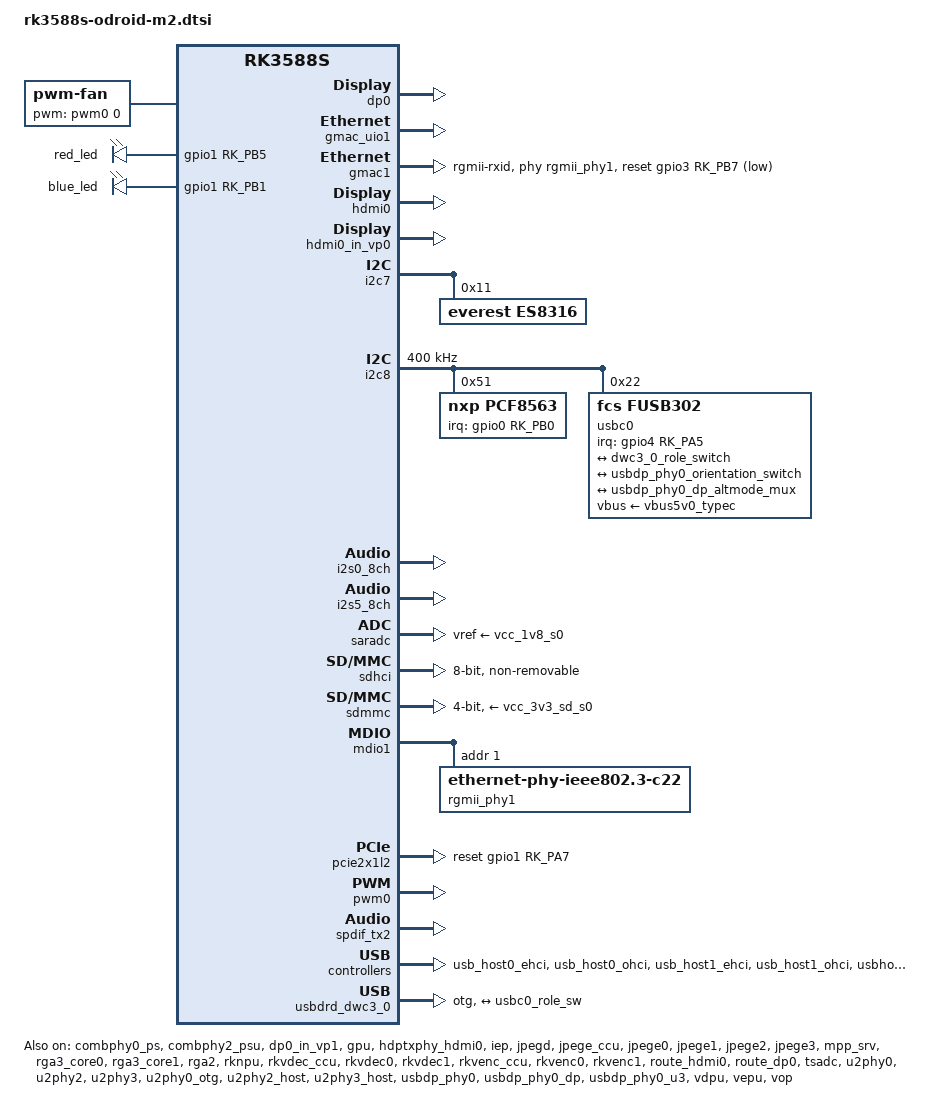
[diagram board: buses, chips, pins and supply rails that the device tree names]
// SPDX-License-Identifier: (GPL-2.0+ OR MIT)
/*
 * Copyright (c) 2024 Hardkernel Co., Ltd.
 *
 */

#include <dt-bindings/gpio/gpio.h>
#include <dt-bindings/pwm/pwm.h>
#include <dt-bindings/pinctrl/rockchip.h>
#include <dt-bindings/input/rk-input.h>
#include <dt-bindings/display/drm_mipi_dsi.h>
#include <dt-bindings/display/rockchip_vop.h>
#include <dt-bindings/sensor-dev.h>

/ {
	aliases {
		can0 = &can2;
		serial0 = &uart7;
		serial1 = &uart9;
		serial2 = &uart4;
		serial3 = &uart8;
		serial4 = &uart1;
		serial7 = &uart2;
		serial8 = &uart0;
		serial9 = &uart3;
		spi1 = &spi3;
		spi3 = &spi1;
		i2c0 = &i2c5;
		i2c1 = &i2c6;
		i2c2 = &i2c1;
		i2c5 = &i2c0;
		i2c6 = &i2c2;
	};

	backlight: backlight {
		status = "disabled";
		compatible = "pwm-backlight";

		pwms = <&pwm14 0 25000 0>;
		brightness-levels = <
			  0  20  20  21  21  22  22  23
			 23  24  24  25  25  26  26  27
			 27  28  28  29  29  30  30  31
			 31  32  32  33  33  34  34  35
			 35  36  36  37  37  38  38  39
			 40  41  42  43  44  45  46  47
			 48  49  50  51  52  53  54  55
			 56  57  58  59  60  61  62  63
			 64  65  66  67  68  69  70  71
			 72  73  74  75  76  77  78  79
			 80  81  82  83  84  85  86  87
			 88  89  90  91  92  93  94  95
			 96  97  98  99 100 101 102 103
			104 105 106 107 108 109 110 111
			112 113 114 115 116 117 118 119
			120 121 122 123 124 125 126 127
			128 129 130 131 132 133 134 135
			136 137 138 139 140 141 142 143
			144 145 146 147 148 149 150 151
			152 153 154 155 156 157 158 159
			160 161 162 163 164 165 166 167
			168 169 170 171 172 173 174 175
			176 177 178 179 180 181 182 183
			184 185 186 187 188 189 190 191
			192 193 194 195 196 197 198 199
			200 201 202 203 204 205 206 207
			208 209 210 211 212 213 214 215
			216 217 218 219 220 221 222 223
			224 225 226 227 228 229 230 231
			232 233 234 235 236 237 238 239
			240 241 242 243 244 245 246 247
			248 249 250 251 252 253 254 255
		>;
		default-brightness-level = <100>;
	};

	dp0_sound: dp0-sound {
		status = "okay";
		compatible = "rockchip,hdmi";
		rockchip,card-name= "rockchip-dp0";
		rockchip,mclk-fs = <512>;
		rockchip,cpu = <&spdif_tx2>;
		rockchip,codec = <&dp0 1>;
		rockchip,jack-det;
	};

	es8316_sound: es8316-sound {
		compatible = "simple-audio-card";
		simple-audio-card,format = "i2s";
		simple-audio-card,name = "rockchip,es8316-codec";
		simple-audio-card,mclk-fs = <256>;
		simple-audio-card,widgets =
			"Microphone", "Mic Jack",
			"Headphone", "Headphone Jack";
		simple-audio-card,routing =
			"Mic Jack", "Mic Bias",
			"MIC2", "Mic Jack",
			"Headphone Jack", "HPOL",
			"Headphone Jack", "HPOR";
		simple-audio-card,cpu {
			sound-dai = <&i2s0_8ch>;
			system-clock-frequency = <11289600>;
		};
		simple-audio-card,codec {
			sound-dai = <&es8316>;
			system-clock-frequency = <11289600>;
		};
	};

	fan: pwm-fan {
		status = "okay";
		compatible = "pwm-fan";
		#cooling-cells = <2>;
		pwms = <&pwm0 0 22222 0>;
		cooling-levels = <0 192 224 255>;
		rockchip,temp-trips = <
			60000	1
			65000	2
			70000	3
		>;
	};

	rk3588s-gpiomem {
		status = "okay";
		compatible = "rockchip,rk3588-gpiomem";
	};

	hdmi0_sound: hdmi0-sound {
		status = "okay";
		compatible = "rockchip,hdmi";
		rockchip,mclk-fs = <128>;
		rockchip,card-name = "rockchip-hdmi0";
		rockchip,cpu = <&i2s5_8ch>;
		rockchip,codec = <&hdmi0>;
		rockchip,jack-det;
	};

	leds {
		compatible = "gpio-leds";
		status = "okay";

		red_led: red {
			gpios = <&gpio1 RK_PB5 GPIO_ACTIVE_HIGH>;
			linux,default-trigger = "default-on";
		};

		blue_led: blue {
			gpios = <&gpio1 RK_PB1 GPIO_ACTIVE_HIGH>;
			linux,default-trigger = "heartbeat";
		};
	};

	spdif_tx_dc: spdif-tx-dc {
		status = "disabled";
		compatible = "linux,spdif-dit";
		#sound-dai-cells = <0>;
	};

	spdif_tx_sound: spdif-tx-sound {
		status = "disabled";
		compatible = "simple-audio-card";
		simple-audio-card,name = "rockchip,spdif-tx";
		simple-audio-card,mclk-fs = <128>;
		simple-audio-card,cpu {
			sound-dai = <&spdif_tx0>;
		};
		simple-audio-card,codec {
			sound-dai = <&spdif_tx_dc>;
		};
	};

	test-power {
		status = "disabled";
	};
};

&av1d_mmu {
	status = "okay";
};

&combphy0_ps {
	status = "okay";
};

&combphy2_psu {
	status = "okay";
};

&dp0 {
	status = "okay";
};

&dp0_in_vp1 {
	status = "okay";
};

&cpu_l0 {
	cpu-supply = <&vdd_cpu_lit_s0>;
	mem-supply = <&vdd_cpu_lit_mem_s0>;
};

&cpu_b0 {
	cpu-supply = <&vdd_cpu_big0_s0>;
	mem-supply = <&vdd_cpu_big0_mem_s0>;
};

&cpu_b2 {
	cpu-supply = <&vdd_cpu_big1_s0>;
	mem-supply = <&vdd_cpu_big1_mem_s0>;
};

&dsi0 {
	status = "disabled";

	dsi0_panel: panel@0 {
		#address-cells = <1>;
		#size-cells = <0>;

		reg = <0>;

		status = "disabled";

		backlight = <&backlight>;
		power-supply = <&vcc3v3_lcd>;

		reset-gpios = <&gpio1 RK_PB0 GPIO_ACTIVE_LOW>;

		pinctrl-names = "default";
		pinctrl-0 = <&lcd_rst_gpio>;

		ports {
			#address-cells = <1>;
			#size-cells = <0>;

			port@0 {
				reg = <0>;

				panel_in_dsi: endpoint {
					remote-endpoint = <&dsi_out_panel>;
				};
			};
		};
	};

	ports {
		#address-cells = <1>;
		#size-cells = <0>;

		port@1 {
			reg = <1>;

			dsi_out_panel: endpoint {
				remote-endpoint = <&panel_in_dsi>;
			};
		};
	};
};

&dsi1 {
	status = "disabled";
};

&gmac_uio1 {
	status = "okay";
};

&gmac1 {
	status = "okay";

	/* Use rgmii-rxid mode to disable rx delay inside Soc */
	phy-mode = "rgmii-rxid";
	clock_in_out = "input";

	snps,reset-gpio = <&gpio3 RK_PB7 GPIO_ACTIVE_LOW>;
	snps,reset-active-low;
	/* Reset time is 20ms, 100ms for rtl8211f */
	snps,reset-delays-us = <0 20000 100000>;

	pinctrl-names = "default";
	pinctrl-0 = <&gmac1_miim
		     &gmac1_clkinout
		     &gmac1_tx_bus2
		     &gmac1_rx_bus2
		     &gmac1_rgmii_clk
		     &gmac1_rgmii_bus>;

	tx_delay = <0x44>;
	/* rx_delay = <0x4f>; */

	phy-handle = <&rgmii_phy1>;
};

&gpu {
	mali-supply = <&vdd_gpu_s0>;
	mem-supply = <&vdd_gpu_mem_s0>;
	status = "okay";
};

&hdmi0 {
	enable-gpios = <&gpio4 RK_PB6 GPIO_ACTIVE_HIGH>;
	status = "okay";
	cec-enable = "true";
};

&hdmi0_in_vp0 {
	status = "okay";
};

&hdptxphy0 {
	status = "disabled";

	/* Single Vdiff Training Table for power reduction (optional) */
	training-table = /bits/ 8 <
		/* voltage swing 0, pre-emphasis 0->3 */
		0x0d 0x00 0x00 0x00 0x00 0x00
		0x0d 0x00 0x00 0x00 0x00 0x00
		0x0d 0x00 0x00 0x00 0x00 0x00
		0x0d 0x00 0x00 0x00 0x00 0x00
		/* voltage swing 1, pre-emphasis 0->2 */
		0x0d 0x00 0x00 0x00 0x00 0x00
		0x0d 0x00 0x00 0x00 0x00 0x00
		0x0d 0x00 0x00 0x00 0x00 0x00
		/* voltage swing 2, pre-emphasis 0->1 */
		0x0d 0x00 0x00 0x00 0x00 0x00
		0x0d 0x00 0x00 0x00 0x00 0x00
		/* voltage swing 3, pre-emphasis 0 */
		0x0d 0x00 0x00 0x00 0x00 0x00
	>;
};

&hdptxphy_hdmi0 {
	status = "okay";
};

&i2c7 {
	status = "okay";
	pinctrl-names = "default";
	pinctrl-0 = <&i2c7m0_xfer>;

	es8316: es8316@11 {
		status = "okay";
		#sound-dai-cells = <0>;
		compatible = "everest,es8316";
		reg = <0x11>;
		clocks = <&mclkout_i2s0>;
		clock-names = "mclk";
		pinctrl-names = "default";
		pinctrl-0 = <&i2s0_mclk>;
	};
};

&i2c8 {
	status = "okay";
	pinctrl-names = "default";
	pinctrl-0 = <&i2c8m2_xfer>;

	clock-frequency = <400000>;

	pcf8563: rtc@51 {
		status = "okay";

		compatible = "nxp,pcf8563";
		reg = <0x51>;

		pinctrl-names = "default";
		pinctrl-0 = <&pcf8563_intr>;
		interrupt-parent = <&gpio0>;
		interrupts = <RK_PB0 IRQ_TYPE_LEVEL_LOW>;
		wakeup-source;
	};

	touchscreen: touchscreen {
		status = "disabled";

		pinctrl-names = "default";
		pinctrl-0 = <&touch_gpio>;

		interrupt-parent = <&gpio1>;
		interrupts = <RK_PA3 IRQ_TYPE_LEVEL_LOW>;

		irq-gpios = <&gpio1 RK_PA3 IRQ_TYPE_LEVEL_LOW>;
		reset-gpios = <&gpio1 RK_PA4 GPIO_ACTIVE_LOW>;

		power-supply = <&vcc3v3_lcd>;
	};

	usbc0: fusb302@22 {
		compatible = "fcs,fusb302";
		reg = <0x22>;
		interrupt-parent = <&gpio4>;
		interrupts = <RK_PA5 IRQ_TYPE_LEVEL_LOW>;
		pinctrl-names = "default";
		pinctrl-0 = <&usbc0_int>;
		vbus-supply = <&vbus5v0_typec>;
		status = "okay";

		ports {
			#address-cells = <1>;
			#size-cells = <0>;

			port@0 {
				reg = <0>;
				usbc0_role_sw: endpoint@0 {
					remote-endpoint = <&dwc3_0_role_switch>;
				};
			};
		};

		usb_con: connector {
			compatible = "usb-c-connector";
			label = "USB-C";
			data-role = "dual";
			power-role = "dual";
			try-power-role = "sink";
			op-sink-microwatt = <1000000>;
			sink-pdos =
				<PDO_FIXED(5000, 1000, PDO_FIXED_USB_COMM)>;
			source-pdos =
				<PDO_FIXED(5000, 3000, PDO_FIXED_USB_COMM)>;

			altmodes {
				#address-cells = <1>;
				#size-cells = <0>;

				altmode@0 {
					reg = <0>;
					svid = <0xff01>;
					vdo = <0xffffffff>;
				};
			};

			ports {
				#address-cells = <1>;
				#size-cells = <0>;

				port@0 {
					reg = <0>;
					usbc0_orien_sw: endpoint {
						remote-endpoint = <&usbdp_phy0_orientation_switch>;
					};
				};

				port@1 {
					reg = <1>;
					dp_altmode_mux: endpoint {
						remote-endpoint = <&usbdp_phy0_dp_altmode_mux>;
					};
				};
			};
		};
	};
};

&i2s0_8ch {
	status = "okay";
	pinctrl-0 = <&i2s0_lrck
		     &i2s0_sclk
		     &i2s0_sdi0
		     &i2s0_sdo0>;
};

&i2s5_8ch {
	status = "okay";
};

&iep {
	status = "okay";
};

&iep_mmu {
	status = "okay";
};

&jpegd {
	status = "okay";
};

&jpegd_mmu {
	status = "okay";
};

&jpege_ccu {
	status = "okay";
};

&jpege0 {
	status = "okay";
};

&jpege0_mmu {
	status = "okay";
};

&jpege1 {
	status = "okay";
};

&jpege1_mmu {
	status = "okay";
};

&jpege2 {
	status = "okay";
};

&jpege2_mmu {
	status = "okay";
};

&jpege3 {
	status = "okay";
};

&jpege3_mmu {
	status = "okay";
};

&mpp_srv {
	status = "okay";
};

&rga3_core0 {
	status = "okay";
};

&rga3_0_mmu {
	status = "okay";
};

&rga3_core1 {
	status = "okay";
};

&rga3_1_mmu {
	status = "okay";
};

&rga2 {
	status = "okay";
};

&rknpu {
	rknpu-supply = <&vdd_npu_s0>;
	mem-supply = <&vdd_npu_mem_s0>;
	status = "okay";
};

&rknpu_mmu {
	status = "okay";
};

&rkvdec_ccu {
	status = "okay";
};

&rkvdec0 {
	status = "okay";
};

&rkvdec0_mmu {
	status = "okay";
};

&rkvdec1 {
	status = "okay";
};

&rkvdec1_mmu {
	status = "okay";
};

&rkvenc_ccu {
	status = "okay";
};

&rkvenc0 {
	venc-supply = <&vdd_vdenc_s0>;
	mem-supply = <&vdd_vdenc_mem_s0>;
	status = "okay";
};

&rkvenc0_mmu {
	status = "okay";
};

&rkvenc1 {
	venc-supply = <&vdd_vdenc_s0>;
	mem-supply = <&vdd_vdenc_mem_s0>;
	status = "okay";
};

&rkvenc1_mmu {
	status = "okay";
};

&rockchip_suspend {
	status = "okay";
	rockchip,sleep-debug-en = <1>;
};

&saradc {
	status = "okay";
	vref-supply = <&vcc_1v8_s0>;
};

&sdhci {
	bus-width = <8>;
	no-sdio;
	no-sd;
	non-removable;
	max-frequency = <200000000>;
	mmc-hs400-1_8v;
	mmc-hs400-enhanced-strobe;
	full-pwr-cycle-in-suspend;
	status = "okay";
};

&sdmmc {
	max-frequency = <150000000>;
	no-sdio;
	no-mmc;
	bus-width = <4>;
	cap-mmc-highspeed;
	cap-sd-highspeed;
	disable-wp;
	sd-uhs-sdr104;
	vmmc-supply = <&vcc_3v3_sd_s0>;
	vqmmc-supply = <&vccio_sd_s0>;
	status = "okay";
};

&mdio1 {
	rgmii_phy1: phy@1 {
		compatible = "ethernet-phy-ieee802.3-c22";
		reg = <0x1>;
	};
};

&mipi_dcphy0 {
	status = "disabled";
};

&mipi_dcphy1 {
	status = "disabled";
};

&pcie2x1l1 {
	status = "disabled";
};

&pcie2x1l2 {
	reset-gpios = <&gpio1 RK_PA7 GPIO_ACTIVE_HIGH>;
	rockchip,skip-scan-in-resume;
	status = "okay";
};

&pinctrl {
	hdmi {
		hdmim0_tx0_scl: hdmim0-tx0-scl {
			rockchip,pins =
				/* hdmim0_tx0_scl */
				<4 RK_PB7 5 &pcfg_pull_none_drv_level_5_smt>;
		};

		/omit-if-no-ref/
		hdmim0_tx0_sda: hdmim0-tx0-sda {
			rockchip,pins =
				/* hdmim0_tx0_sda */
				<4 RK_PC0 5 &pcfg_pull_none_drv_level_5_smt>;
		};

		hdmim0_tx1_hpd: hdmim0-tx1-hpd {
			rockchip,pins =
				/* hdmim0_tx1_hpd */
				<1 RK_PA6 5 &pcfg_pull_none_drv_level_5_smt>;
		};
	};

	headphone {
		hp_det: hp-det {
			rockchip,pins = <1 RK_PD5 RK_FUNC_GPIO &pcfg_pull_none>;
		};
	};

	lcd {
		lcd_rst_gpio: lcd-rst-gpio {
			rockchip,pins = <1 RK_PB0 RK_FUNC_GPIO &pcfg_pull_none>;
		};
	};

	rtc {
		pcf8563_intr: pcf8563-intr {
			rockchip,pins = <0 RK_PB0 RK_FUNC_GPIO &pcfg_pull_none>;
		};
	};

	touch {
		touch_gpio: touch-gpio {
			rockchip,pins =
				<1 RK_PA3 RK_FUNC_GPIO &pcfg_pull_none>,
				<1 RK_PA4 RK_FUNC_GPIO &pcfg_pull_none>;
		};
	};
	usb-typec {
		usbc0_int: usbc0-int {
			rockchip,pins = <4 RK_PA5 RK_FUNC_GPIO &pcfg_pull_up>;
		};
	};
};

&pwm0 {
	status = "okay";
	pinctrl-0 = <&pwm0m2_pins>;
};

&pwm14 {
	status = "disabled";
	pinctrl-0 = <&pwm14m1_pins>;
};

&route_dsi0 {
	status = "disabled";
	connect = <&vp3_out_dsi0>;
};

&route_dsi1 {
	status = "disabled";
	connect = <&vp3_out_dsi1>;
};

&route_hdmi0 {
	status = "okay";
	connect = <&vp0_out_hdmi0>;
};

&route_dp0 {
	status = "okay";
	connect = <&vp1_out_dp0>;
};

&spdif_tx0 {
	status = "disabled";
	pinctrl-names = "default";
	pinctrl-0 = <&spdif0m1_tx>;
};

&spdif_tx2 {
	status = "okay";
};

&tsadc {
	status = "okay";
};

&u2phy0 {
	status = "okay";
};

&u2phy2 {
	status = "okay";
};

&u2phy3 {
	status = "okay";
};

&u2phy0_otg {
	status = "okay";
	rockchip,typec-vbus-det;
	rockchip,sel-pipe-phystatus;
	vbus-supply = <&vbus5v0_typec>;
};

&u2phy2_host {
	status = "okay";
	phy-supply = <&vcc5v0_u2host>;
};

&u2phy3_host {
	status = "okay";
	phy-supply = <&vcc5v0_u3host>;
};

&usb_host0_ehci {
	status = "okay";
};

&usb_host0_ohci {
	status = "okay";
};

&usb_host1_ehci {
	status = "okay";
};

&usb_host1_ohci {
	status = "okay";
};

&usbhost3_0 {
	status = "okay";
};

&usbhost_dwc3_0 {
	status = "okay";
};

&usbdp_phy0 {
	status = "okay";
	orientation-switch;
	svid = <0xff01>;
	sbu1-dc-gpios = <&gpio4 RK_PA0 GPIO_ACTIVE_HIGH>;
	sbu2-dc-gpios = <&gpio4 RK_PA1 GPIO_ACTIVE_HIGH>;

	port {
		#address-cells = <1>;
		#size-cells = <0>;
		usbdp_phy0_orientation_switch: endpoint@0 {
			reg = <0>;
			remote-endpoint = <&usbc0_orien_sw>;
		};

		usbdp_phy0_dp_altmode_mux: endpoint@1 {
			reg = <1>;
			remote-endpoint = <&dp_altmode_mux>;
		};
	};
};

&usbdp_phy0_dp {
	status = "okay";
};

&usbdp_phy0_u3 {
	status = "okay";
};

&usbdrd3_0 {
	status = "okay";
};

&usbdrd_dwc3_0 {
	dr_mode = "otg";
	status = "okay";

	usb-role-switch;
	port {
		#address-cells = <1>;
		#size-cells = <0>;
		dwc3_0_role_switch: endpoint@0 {
			reg = <0>;
			remote-endpoint = <&usbc0_role_sw>;
		};
	};
};

&gpio0 {
	gpio-line-names =
		/* GPIO0_A0-A3 */
		"", "", "", "",
		/* GPIO0_A4-A7 */
		"", "", "", "",

		/* GPIO0_B0-B3 */
		"", "", "", "",
		/* GPIO0_B4-B7 */
		"", "", "", "",

		/* GPIO0_C0-C3 */
		"", "", "", "",
		/* GPIO0_C4-C7 */
		"", "", "", "",

		/* GPIO0_D0-D3 */
		"PIN_7", "", "", "",
		/* GPIO0_D4-D7 */
		"PIN_22", "PIN_24", "", "";
};

&gpio1 {
	gpio-line-names =
		/* GPIO1_A0-A3 */
		"", "", "", "",
		/* GPIO1_A4-A7 */
		"", "", "", "",

		/* GPIO1_B0-B3 */
		"", "", "PIN_16", "PIN_18",
		/* GPIO1_B4-B7 */
		"PIN_26", "", "PIN_31", "PIN_29",

		/* GPIO1_C0-C3 */
		"", "", "", "",
		/* GPIO1_C4-C7 */
		"", "", "", "",

		/* GPIO1_D0-D3 */
		"", "", "", "",
		/* GPIO1_D4-D7 */
		"", "", "", "";
};

&gpio2 {
	gpio-line-names =
		/* GPIO2_A0-A3 */
		"", "", "", "",
		/* GPIO2_A4-A7 */
		"", "", "", "",

		/* GPIO2_B0-B3 */
		"", "", "", "",
		/* GPIO2_B4-B7 */
		"", "", "", "",

		/* GPIO2_C0-C3 */
		"", "", "", "",
		/* GPIO2_C4-C7 */
		"", "", "", "",

		/* GPIO2_D0-D3 */
		"", "", "", "",
		/* GPIO2_D4-D7 */
		"", "", "", "";
};

&gpio3 {
	gpio-line-names =
		/* GPIO3_A0-A3 */
		"", "", "", "",
		/* GPIO3_A4-A7 */
		"", "", "", "",

		/* GPIO3_B0-B3 */
		"", "", "PIN_12", "",
		/* GPIO3_B4-B7 */
		"", "", "", "",

		/* GPIO3_C0-C3 */
		"PIN_8", "PIN_10", "", "",
		/* GPIO3_C4-C7 */
		"EXTPIN_11", "EXTPIN_12", "EXTPIN_13", "PIN_35",

		/* GPIO3_D0-D3 */
		"PIN_33", "PIN_21", "PIN_19", "PIN_23",
		/* GPIO3_D4-D7 */
		"PIN_11", "PIN_13", "", "";
};

&gpio4 {
	gpio-line-names =
		/* GPIO4_A0-A3 */
		"", "", "", "",
		/* GPIO4_A4-A7 */
		"", "", "PIN_5", "PIN_3",

		/* GPIO4_B0-B3 */
		"PIN_27", "PIN_28", "", "PIN_15",
		/* GPIO4_B4-B7 */
		"PIN_32", "PIN_36", "", "",

		/* GPIO4_C0-C3 */
		"", "", "", "",
		/* GPIO4_C4-C7 */
		"", "", "", "",

		/* GPIO4_D0-D3 */
		"", "", "", "",
		/* GPIO4_D4-D7 */
		"", "", "", "";
};

&i2c1 {
	pinctrl-0 = <&i2c1m2_xfer>;
	status = "disabled";
};

&i2c5 {
	pinctrl-0 = <&i2c5m2_xfer>;
	status = "disabled";
};

&i2c6 {
	pinctrl-0 = <&i2c6m3_xfer>;
	status = "disabled";
};

&pwm3 {
	pinctrl-0 = <&pwm3m1_pins>;
	status = "disabled";
};

&pwm8 {
	pinctrl-0 = <&pwm8m2_pins>;
	status = "disabled";
};

&pwm15 {
	pinctrl-0 = <&pwm15m1_pins>;
	status = "disabled";
};

&spi0 {
	pinctrl-0 = <&spi0m3_pins>;
	num-cs = <1>;
	cs-gpios = <&gpio0 RK_PD5 GPIO_ACTIVE_LOW>;
	status = "disabled";
};

&spi3 {
	pinctrl-0 = <&spi3m3_pins>;
	num-cs = <1>;
	cs-gpios = <&gpio3 RK_PC4 GPIO_ACTIVE_LOW>;
	status = "disabled";
};

&uart1 {
	dma-names = "tx", "rx";
	status = "disabled";
};

&uart4 {
	pinctrl-0 = <&uart4m2_xfer>;
	dma-names = "tx", "rx";
	status = "disabled";
};

&uart5 {
	dma-names = "tx", "rx";
	status = "disabled";
};

&uart7 {
	pinctrl-0 = <&uart7m1_xfer>;
	dma-names = "tx", "rx";
	status = "disabled";
};

&uart8 {
	pinctrl-0 = <&uart8m0_xfer>;
	dma-names = "tx", "rx";
	status = "disabled";
};

&uart9 {
	pinctrl-0 = <&uart9m2_xfer>;
	pinctrl-1 = <&uart9m2_xfer &uart9m2_ctsn &uart9m2_rtsn>;
	dma-names = "tx", "rx";
	status = "disabled";
};

&vdpu {
	status = "okay";
};

&vdpu_mmu {
	status = "okay";
};

&vepu {
	status = "okay";
};

&vop {
	status = "okay";
	assigned-clocks = <&cru PLL_V0PLL>;
	assigned-clock-rates = <1152000000>;
};

&vop_mmu {
	status = "okay";
};

&vp0 {
	assigned-clocks = <&cru DCLK_VOP0>;
	assigned-clock-parents = <&hdptxphy_hdmi_clk0>;
	rockchip,plane-mask = <(1 << ROCKCHIP_VOP2_CLUSTER0 | 1 << ROCKCHIP_VOP2_ESMART0)>;
	rockchip,primary-plane = <ROCKCHIP_VOP2_ESMART0>;
};

&vp1 {
	assigned-clocks = <&cru DCLK_VOP1_SRC>;
	assigned-clock-parents = <&cru PLL_V0PLL>;
	rockchip,plane-mask = <(1 << ROCKCHIP_VOP2_CLUSTER1 | 1 << ROCKCHIP_VOP2_ESMART1)>;
	rockchip,primary-plane = <ROCKCHIP_VOP2_ESMART1>;
};

&vp2 {
	assigned-clocks = <&cru DCLK_VOP2_SRC>;
	assigned-clock-parents = <&cru PLL_GPLL>;
	rockchip,plane-mask = <(1 << ROCKCHIP_VOP2_CLUSTER2 | 1 << ROCKCHIP_VOP2_ESMART2)>;
	rockchip,primary-plane = <ROCKCHIP_VOP2_ESMART2>;
};

&vp3 {
	rockchip,plane-mask = <(1 << ROCKCHIP_VOP2_CLUSTER3 | 1 << ROCKCHIP_VOP2_ESMART3)>;
	rockchip,primary-plane = <ROCKCHIP_VOP2_ESMART3>;
};

&pinctrl {
	can_pins {
		mcp251x_int_pins: mcp251x_int_pins {
			rockchip,pins = <3 RK_PD4 RK_FUNC_GPIO &pcfg_pull_none>;
		};
	};
};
